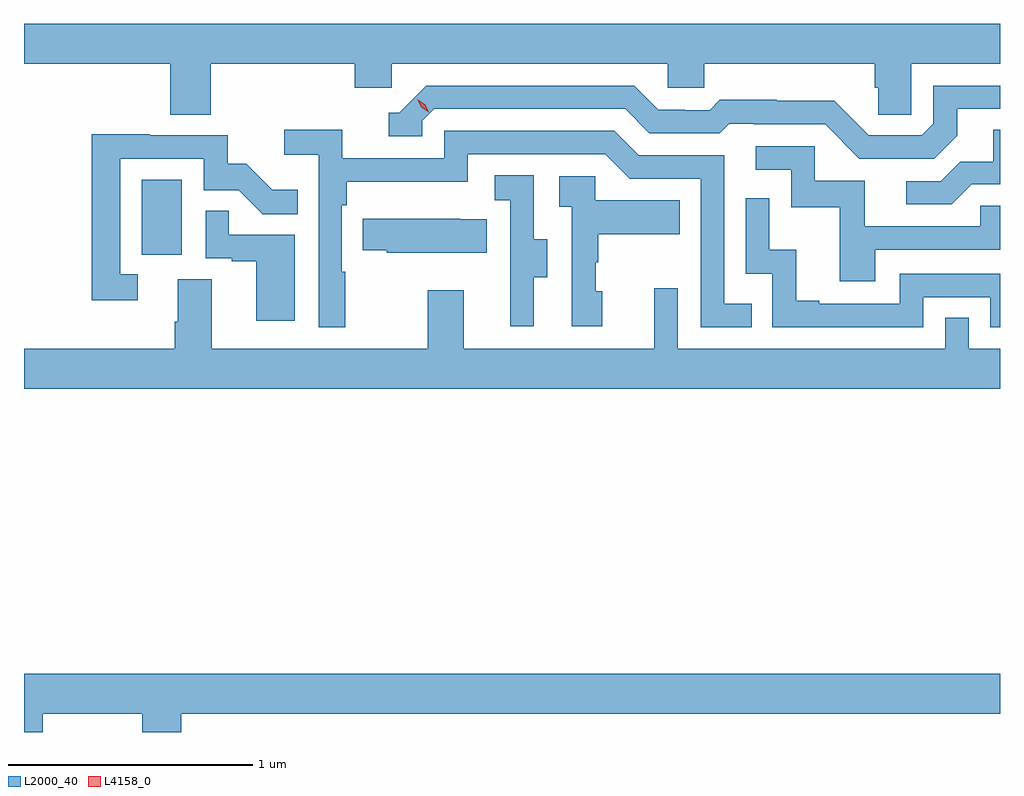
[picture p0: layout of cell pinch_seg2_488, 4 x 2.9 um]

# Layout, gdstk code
import gdstk
lib = gdstk.Library(unit=1e-6, precision=1e-09)
def R(c, l, rs):  # rectangles x0, y0, x1, y1
    for r in rs: c.add(gdstk.rectangle(r[:2], r[2:], *l))
def P(c, l, *ps):  # polygons
    for p in ps: c.add(gdstk.Polygon(p, *l))
L2000_40 = (2000, 40)
L4158_0 = (4158, 0)

pinch_seg2_488 = lib.new_cell('pinch_seg2_488')
R(pinch_seg2_488, L2000_40, [(983.39,590.91,983.554,591.217)])
P(pinch_seg2_488, L2000_40, [(983.672,591.692),(984.263,591.692),(984.263,591.594),(984.414,591.594),(984.414,591.692),(985.545,591.692),(985.545,591.594),(985.695,591.594),(985.695,591.692),(986.393,591.692),(986.393,591.594),(986.407,591.594),(986.407,591.484),(986.544,591.484),(986.544,591.692),(986.907,591.692),(986.907,591.856),(982.907,591.856),(982.907,591.692),(983.507,591.692),(983.507,591.484),(983.672,591.484)],
  [(986.731,591.397),(986.731,591.507),(986.907,591.507),(986.907,591.603),(986.634,591.603),(986.634,591.447),(986.586,591.399),(986.37,591.399),(986.228,591.541),(985.992,591.541),(985.992,591.544),(985.759,591.544),(985.717,591.501),(985.614,591.501),(985.614,591.504),(985.507,591.504),(985.408,591.603),(984.555,591.603),(984.444,591.492),(984.401,591.492),(984.401,591.396),(984.54,591.396),(984.54,591.459),(984.588,591.507),(985.371,591.507),(985.47,591.408),(985.759,591.408),(985.798,591.447),(985.897,591.447),(985.897,591.444),(986.19,591.444),(986.331,591.303),(986.637,591.303)],
  [(986.791,591.198),(986.907,591.198),(986.907,591.422),(986.879,591.422),(986.879,591.29),(986.744,591.29),(986.664,591.21),(986.523,591.21),(986.523,591.117),(986.71,591.117)],
  [(984.223,590.84),(984.21,590.84),(984.21,591.113),(984.23,591.113),(984.23,591.209),(984.726,591.209),(984.726,591.321),(985.29,591.321),(985.389,591.222),(985.68,591.222),(985.68,590.613),(985.889,590.613),(985.889,590.709),(985.776,590.709),(985.776,591.318),(985.426,591.318),(985.327,591.417),(984.63,591.417),(984.63,591.306),(984.212,591.306),(984.212,591.422),(983.973,591.422),(983.973,591.32),(984.114,591.32),(984.114,590.613),(984.223,590.613)],
  [(983.374,590.829),(983.301,590.829),(983.301,591.303),(983.643,591.303),(983.643,591.174),(983.787,591.174),(983.885,591.076),(984.029,591.076),(984.029,591.175),(983.925,591.175),(983.818,591.282),(983.742,591.282),(983.742,591.399),(983.423,591.399),(983.423,591.404),(983.185,591.404),(983.185,590.724),(983.374,590.724)],
  [(986.395,590.931),(986.907,590.931),(986.907,591.111),(986.827,591.111),(986.827,591.027),(986.353,591.027),(986.353,591.213),(986.148,591.213),(986.148,591.354),(985.905,591.354),(985.905,591.258),(986.052,591.258),(986.052,591.105),(986.251,591.105),(986.251,590.802),(986.395,590.802)],
  [(984.997,590.818),(985.051,590.818),(985.051,590.973),(984.996,590.973),(984.996,591.236),(984.837,591.236),(984.837,591.133),(984.9,591.133),(984.9,590.829),(984.899,590.829),(984.899,590.616),(984.997,590.616)],
  [(985.276,590.76),(985.251,590.76),(985.251,590.879),(985.261,590.879),(985.261,590.993),(985.595,590.993),(985.595,591.133),(985.248,591.133),(985.248,591.231),(985.101,591.231),(985.101,591.107),(985.152,591.107),(985.152,590.616),(985.276,590.616)],
  [(986.592,590.736),(986.868,590.736),(986.868,590.613),(986.907,590.613),(986.907,590.832),(986.496,590.832),(986.496,590.709),(986.167,590.709),(986.167,590.722),(986.072,590.722),(986.072,590.93),(985.962,590.93),(985.962,591.142),(985.866,591.142),(985.866,590.832),(985.974,590.832),(985.974,590.613),(986.592,590.613)],
  [(984.016,590.991),(983.747,590.991),(983.747,591.089),(983.652,591.089),(983.652,590.895),(983.759,590.895),(983.759,590.883),(983.858,590.883),(983.858,590.64),(984.016,590.64)],
  [(984.803,591.055),(984.695,591.055),(984.695,591.058),(984.295,591.058),(984.295,590.929),(984.393,590.929),(984.393,590.918),(984.803,590.918)],
  [(986.907,590.524),(986.778,590.524),(986.778,590.651),(986.682,590.651),(986.682,590.524),(985.587,590.524),(985.587,590.773),(985.49,590.773),(985.49,590.524),(984.709,590.524),(984.709,590.764),(984.562,590.764),(984.562,590.524),(983.677,590.524),(983.677,590.81),(983.537,590.81),(983.537,590.636),(983.525,590.636),(983.525,590.524),(982.907,590.524),(982.907,590.36),(986.907,590.36)],
  [(982.983,589.028),(983.392,589.028),(983.392,588.953),(983.552,588.953),(983.552,589.028),(986.907,589.028),(986.907,589.192),(982.907,589.192),(982.907,588.953),(982.983,588.953)])
P(pinch_seg2_488, L4158_0, [(984.565,591.494),(984.535,591.514),(984.518,591.546),(984.518,591.546),(984.519,591.546),(984.549,591.527),(984.565,591.495),(984.565,591.494)])

lib.write_gds('pinch_seg2_488.gds')
